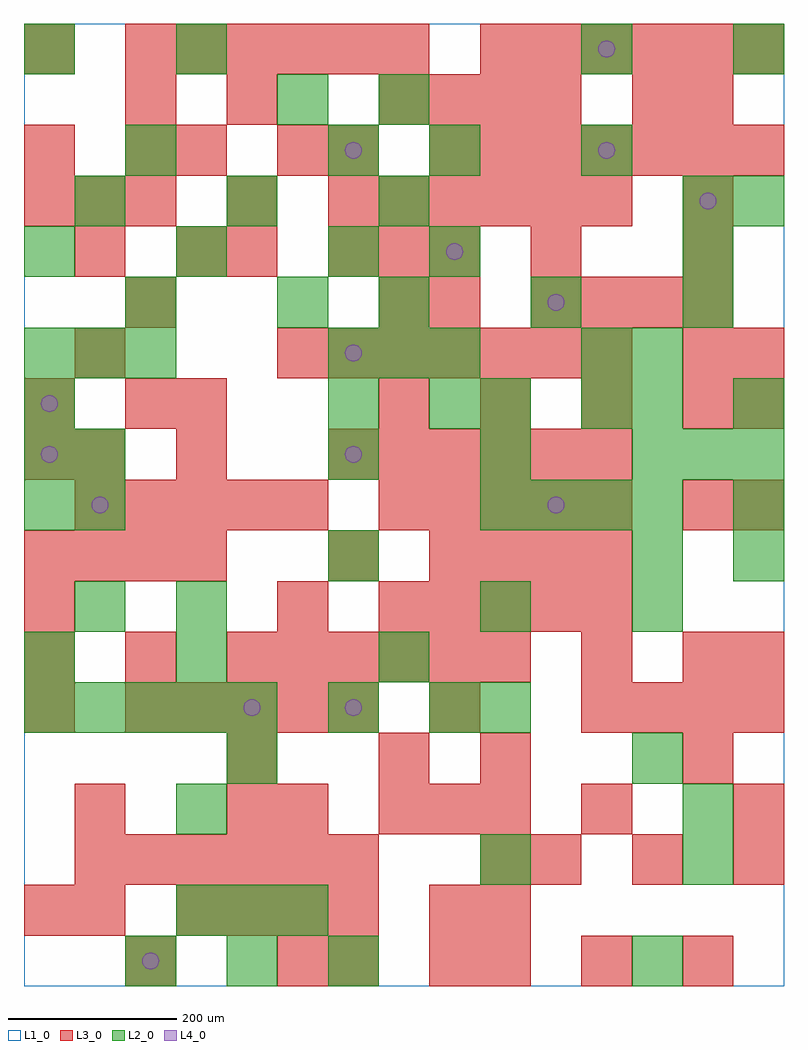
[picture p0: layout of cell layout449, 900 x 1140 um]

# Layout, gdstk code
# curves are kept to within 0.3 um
import gdstk
lib = gdstk.Library(unit=1e-6, precision=1e-09)
def R(c, l, rs):  # rectangles x0, y0, x1, y1
    for r in rs: c.add(gdstk.rectangle(r[:2], r[2:], *l))
def A(c, l, x, y, w, h, nx, ny, dx, dy):  # array of equal rectangles
    R(c, l, [(x+i*dx, y+j*dy, x+i*dx+w, y+j*dy+h) for i in range(nx) for j in range(ny)])
def P(c, l, *ps):  # polygons
    for p in ps: c.add(gdstk.Polygon(p, *l))
L1_0 = (1, 0)
L2_0 = (2, 0)
L3_0 = (3, 0)
L4_0 = (4, 0)

layout449 = lib.new_cell('layout449')
R(layout449, L1_0, [(0,0,900,1140)])
A(layout449, L2_0, 120, 0, 60, 60, 3, 1, 120, 0)
A(layout449, L2_0, 180, 60, 60, 60, 3, 1, 60, 0)
A(layout449, L2_0, 0, 300, 60, 60, 5, 1, 60, 0)
A(layout449, L2_0, 360, 300, 60, 60, 1, 3, 0, 180)
A(layout449, L2_0, 840, 480, 60, 60, 1, 4, 0, 60)
A(layout449, L2_0, 0, 540, 60, 60, 1, 3, 0, 60)
A(layout449, L2_0, 540, 540, 60, 60, 4, 1, 60, 0)
A(layout449, L2_0, 360, 600, 60, 60, 3, 1, 180, 0)
A(layout449, L2_0, 0, 720, 60, 60, 3, 1, 60, 0)
A(layout449, L2_0, 360, 720, 60, 60, 3, 1, 60, 0)
A(layout449, L2_0, 420, 780, 60, 60, 3, 1, 180, 0)
A(layout449, L2_0, 0, 840, 60, 60, 3, 1, 180, 0)
A(layout449, L2_0, 60, 900, 60, 60, 3, 1, 180, 0)
R(layout449, L2_0, [(720,0,780,60), (540,120,600,180), (780,120,840,180), (180,180,240,240), (780,180,840,240), (240,240,300,300), (720,240,780,300), (480,300,540,360), (540,300,600,360), (0,360,60,420), (180,360,240,420), (420,360,480,420), (60,420,120,480), (180,420,240,480), (540,420,600,480), (720,420,780,480), (720,480,780,540), (60,540,120,600), (60,600,120,660), (780,600,840,660), (480,660,540,720), (540,660,600,720), (660,660,720,720), (720,660,780,720), (660,720,720,780), (720,720,780,780), (120,780,180,840), (300,780,360,840), (480,840,540,900), (780,840,840,900), (780,900,840,960), (840,900,900,960), (120,960,180,1020), (360,960,420,1020), (480,960,540,1020), (660,960,720,1020), (300,1020,360,1080), (420,1020,480,1080), (0,1080,60,1140), (180,1080,240,1140), (660,1080,720,1140), (840,1080,900,1140)])
A(layout449, L3_0, 360, 0, 60, 60, 1, 3, 0, 480)
A(layout449, L3_0, 540, 0, 60, 60, 3, 1, 120, 0)
A(layout449, L3_0, 180, 60, 60, 60, 4, 1, 60, 0)
A(layout449, L3_0, 60, 120, 60, 60, 6, 1, 60, 0)
A(layout449, L3_0, 600, 120, 60, 60, 3, 1, 120, 0)
A(layout449, L3_0, 420, 180, 60, 60, 3, 1, 60, 0)
A(layout449, L3_0, 840, 180, 60, 60, 1, 3, 0, 180)
A(layout449, L3_0, 120, 300, 60, 60, 5, 1, 60, 0)
A(layout449, L3_0, 660, 300, 60, 60, 4, 1, 60, 0)
A(layout449, L3_0, 0, 360, 60, 60, 3, 1, 120, 0)
A(layout449, L3_0, 300, 360, 60, 60, 5, 1, 60, 0)
A(layout449, L3_0, 780, 360, 60, 60, 1, 3, 0, 180)
A(layout449, L3_0, 420, 420, 60, 60, 5, 2, 60, 120)
A(layout449, L3_0, 0, 480, 60, 60, 4, 1, 60, 0)
A(layout449, L3_0, 480, 480, 60, 60, 4, 1, 60, 0)
A(layout449, L3_0, 60, 540, 60, 60, 5, 1, 60, 0)
A(layout449, L3_0, 60, 600, 60, 60, 1, 3, 0, 120)
A(layout449, L3_0, 360, 600, 60, 60, 6, 2, 60, 300)
A(layout449, L3_0, 420, 660, 60, 60, 4, 1, 120, 0)
A(layout449, L3_0, 300, 720, 60, 60, 7, 1, 60, 0)
A(layout449, L3_0, 600, 780, 60, 60, 4, 1, 60, 0)
A(layout449, L3_0, 360, 840, 60, 60, 3, 1, 60, 0)
A(layout449, L3_0, 0, 900, 60, 60, 3, 1, 60, 0)
A(layout449, L3_0, 480, 960, 60, 60, 7, 1, 60, 0)
A(layout449, L3_0, 420, 1020, 60, 60, 4, 1, 60, 0)
A(layout449, L3_0, 120, 1080, 60, 60, 6, 1, 60, 0)
A(layout449, L3_0, 540, 1080, 60, 60, 6, 1, 60, 0)
R(layout449, L3_0, [(120,0,180,60), (300,0,360,60), (480,0,540,60), (0,60,60,120), (60,60,120,120), (480,60,540,120), (540,60,600,120), (540,120,600,180), (60,180,120,240), (240,180,300,240), (300,180,360,240), (660,180,720,240), (240,240,300,300), (420,240,480,300), (540,240,600,300), (780,240,840,300), (0,300,60,360), (480,300,540,360), (660,360,720,420), (0,420,60,480), (300,420,360,480), (0,600,60,660), (180,600,240,660), (0,660,60,720), (120,660,180,720), (180,660,240,720), (840,660,900,720), (840,720,900,780), (120,780,180,840), (420,780,480,840), (480,780,540,840), (180,840,240,900), (240,840,300,900), (600,840,660,900), (780,840,840,900), (240,900,300,960), (780,900,840,960), (0,960,60,1020), (120,960,180,1020), (180,960,240,1020), (300,960,360,1020), (120,1020,180,1080), (240,1020,300,1080), (720,1020,780,1080), (780,1020,840,1080), (0,1080,60,1140)])
P(layout449, L4_0, [(40,630),(39.239,633.827),(37.071,637.071),(33.827,639.239),(30,640),(26.173,639.239),(22.929,637.071),(20.761,633.827),(20,630),(20.761,626.173),(22.929,622.929),(26.173,620.761),(30,620),(33.827,620.761),(37.071,622.929),(39.239,626.173)],
  [(40,690),(39.239,693.827),(37.071,697.071),(33.827,699.239),(30,700),(26.173,699.239),(22.929,697.071),(20.761,693.827),(20,690),(20.761,686.173),(22.929,682.929),(26.173,680.761),(30,680),(33.827,680.761),(37.071,682.929),(39.239,686.173)],
  [(100,570),(99.239,573.827),(97.071,577.071),(93.827,579.239),(90,580),(86.173,579.239),(82.929,577.071),(80.761,573.827),(80,570),(80.761,566.173),(82.929,562.929),(86.173,560.761),(90,560),(93.827,560.761),(97.071,562.929),(99.239,566.173)],
  [(160,30),(159.239,33.827),(157.071,37.071),(153.827,39.239),(150,40),(146.173,39.239),(142.929,37.071),(140.761,33.827),(140,30),(140.761,26.173),(142.929,22.929),(146.173,20.761),(150,20),(153.827,20.761),(157.071,22.929),(159.239,26.173)],
  [(280,330),(279.239,333.827),(277.071,337.071),(273.827,339.239),(270,340),(266.173,339.239),(262.929,337.071),(260.761,333.827),(260,330),(260.761,326.173),(262.929,322.929),(266.173,320.761),(270,320),(273.827,320.761),(277.071,322.929),(279.239,326.173)],
  [(400,330),(399.239,333.827),(397.071,337.071),(393.827,339.239),(390,340),(386.173,339.239),(382.929,337.071),(380.761,333.827),(380,330),(380.761,326.173),(382.929,322.929),(386.173,320.761),(390,320),(393.827,320.761),(397.071,322.929),(399.239,326.173)],
  [(400,630),(399.239,633.827),(397.071,637.071),(393.827,639.239),(390,640),(386.173,639.239),(382.929,637.071),(380.761,633.827),(380,630),(380.761,626.173),(382.929,622.929),(386.173,620.761),(390,620),(393.827,620.761),(397.071,622.929),(399.239,626.173)],
  [(400,750),(399.239,753.827),(397.071,757.071),(393.827,759.239),(390,760),(386.173,759.239),(382.929,757.071),(380.761,753.827),(380,750),(380.761,746.173),(382.929,742.929),(386.173,740.761),(390,740),(393.827,740.761),(397.071,742.929),(399.239,746.173)],
  [(400,990),(399.239,993.827),(397.071,997.071),(393.827,999.239),(390,1000),(386.173,999.239),(382.929,997.071),(380.761,993.827),(380,990),(380.761,986.173),(382.929,982.929),(386.173,980.761),(390,980),(393.827,980.761),(397.071,982.929),(399.239,986.173)],
  [(520,870),(519.239,873.827),(517.071,877.071),(513.827,879.239),(510,880),(506.173,879.239),(502.929,877.071),(500.761,873.827),(500,870),(500.761,866.173),(502.929,862.929),(506.173,860.761),(510,860),(513.827,860.761),(517.071,862.929),(519.239,866.173)],
  [(640,570),(639.239,573.827),(637.071,577.071),(633.827,579.239),(630,580),(626.173,579.239),(622.929,577.071),(620.761,573.827),(620,570),(620.761,566.173),(622.929,562.929),(626.173,560.761),(630,560),(633.827,560.761),(637.071,562.929),(639.239,566.173)],
  [(640,810),(639.239,813.827),(637.071,817.071),(633.827,819.239),(630,820),(626.173,819.239),(622.929,817.071),(620.761,813.827),(620,810),(620.761,806.173),(622.929,802.929),(626.173,800.761),(630,800),(633.827,800.761),(637.071,802.929),(639.239,806.173)],
  [(700,990),(699.239,993.827),(697.071,997.071),(693.827,999.239),(690,1000),(686.173,999.239),(682.929,997.071),(680.761,993.827),(680,990),(680.761,986.173),(682.929,982.929),(686.173,980.761),(690,980),(693.827,980.761),(697.071,982.929),(699.239,986.173)],
  [(700,1110),(699.239,1113.827),(697.071,1117.071),(693.827,1119.239),(690,1120),(686.173,1119.239),(682.929,1117.071),(680.761,1113.827),(680,1110),(680.761,1106.173),(682.929,1102.929),(686.173,1100.761),(690,1100),(693.827,1100.761),(697.071,1102.929),(699.239,1106.173)],
  [(820,930),(819.239,933.827),(817.071,937.071),(813.827,939.239),(810,940),(806.173,939.239),(802.929,937.071),(800.761,933.827),(800,930),(800.761,926.173),(802.929,922.929),(806.173,920.761),(810,920),(813.827,920.761),(817.071,922.929),(819.239,926.173)])

lib.write_gds('layout449.gds')
